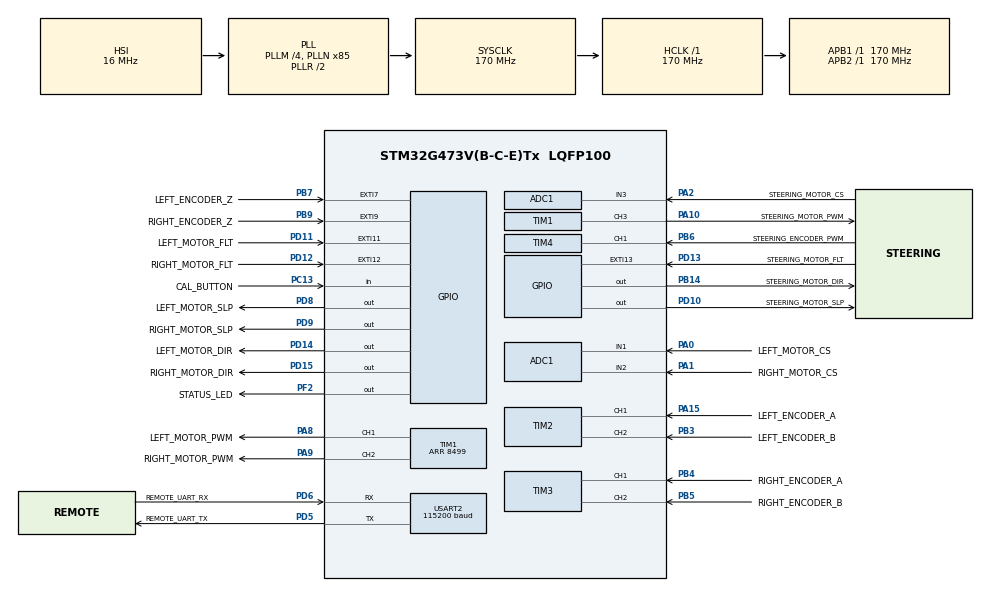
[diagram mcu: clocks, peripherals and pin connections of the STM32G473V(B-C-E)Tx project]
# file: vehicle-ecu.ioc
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ADC1.Channel-0\#ChannelRegularConversion=ADC_CHANNEL_1
ADC1.Channel-1\#ChannelRegularConversion=ADC_CHANNEL_2
ADC1.Channel-2\#ChannelRegularConversion=ADC_CHANNEL_3
ADC1.ContinuousConvMode=ENABLE
ADC1.DMAContinuousRequests=ENABLE
ADC1.EOCSelection=ADC_EOC_SEQ_CONV
ADC1.EnableAnalogWatchDog1=false
ADC1.NbrOfConversion=3
ADC1.NbrOfConversionFlag=1
ADC1.OffsetNumber-0\#ChannelRegularConversion=ADC_OFFSET_NONE
ADC1.OffsetNumber-1\#ChannelRegularConversion=ADC_OFFSET_NONE
ADC1.OffsetNumber-2\#ChannelRegularConversion=ADC_OFFSET_NONE
ADC1.Overrun=ADC_OVR_DATA_OVERWRITTEN
ADC1.Rank-0\#ChannelRegularConversion=1
ADC1.Rank-1\#ChannelRegularConversion=2
ADC1.Rank-2\#ChannelRegularConversion=3
ADC1.SamplingTime-0\#ChannelRegularConversion=ADC_SAMPLETIME_47CYCLES_5
ADC1.SamplingTime-1\#ChannelRegularConversion=ADC_SAMPLETIME_47CYCLES_5
ADC1.SamplingTime-2\#ChannelRegularConversion=ADC_SAMPLETIME_47CYCLES_5
ADC1.master=1
Dma.ADC1.0.Direction=DMA_PERIPH_TO_MEMORY
Dma.ADC1.0.EventEnable=DISABLE
Dma.ADC1.0.Instance=DMA1_Channel1
Dma.ADC1.0.MemDataAlignment=DMA_MDATAALIGN_HALFWORD
Dma.ADC1.0.MemInc=DMA_MINC_ENABLE
Dma.ADC1.0.Mode=DMA_CIRCULAR
Dma.ADC1.0.PeriphDataAlignment=DMA_PDATAALIGN_HALFWORD
Dma.ADC1.0.PeriphInc=DMA_PINC_DISABLE
Dma.ADC1.0.Polarity=HAL_DMAMUX_REQ_GEN_RISING
Dma.ADC1.0.Priority=DMA_PRIORITY_HIGH
Dma.ADC1.0.RequestNumber=1
Dma.ADC1.0.SignalID=NONE
Dma.ADC1.0.SyncEnable=DISABLE
Dma.ADC1.0.SyncPolarity=HAL_DMAMUX_SYNC_NO_EVENT
Dma.ADC1.0.SyncRequestNumber=1
Dma.ADC1.0.SyncSignalID=NONE
Dma.Request0=ADC1
FREERTOS.Tasks01=defaultTask,24,1024,StartDefaultTask,Default,NULL,Static,defaultTaskBuffer,defaultTaskControlBlock
FREERTOS.configCHECK_FOR_STACK_OVERFLOW=2
FREERTOS.configENABLE_FPU=1
FREERTOS.configTOTAL_HEAP_SIZE=16384
FREERTOS.configUSE_MALLOC_FAILED_HOOK=1
Mcu.Family=STM32G4
Mcu.Name=STM32G473V(B-C-E)Tx
Mcu.Package=LQFP100
NVIC.DMA1_Channel1_IRQn=true\:5\:0\:false\:false\:true\:true\:false\:true\:true
NVIC.EXTI15_10_IRQn=true\:5\:0\:false\:false\:true\:true\:true\:true\:true
NVIC.EXTI9_5_IRQn=true\:5\:0\:false\:false\:true\:true\:true\:true\:true
NVIC.PriorityGroup=NVIC_PRIORITYGROUP_4
NVIC.TIM4_IRQn=true\:5\:0\:false\:false\:true\:true\:true\:true\:true
NVIC.TIM6_DAC_IRQn=true\:0\:0\:true\:false\:true\:false\:false\:true\:true
NVIC.TimeBase=TIM6_DAC_IRQn
NVIC.TimeBaseIP=TIM6
NVIC.USART2_IRQn=true\:5\:0\:false\:false\:true\:true\:true\:true\:true
PA0.GPIO_Label=LEFT_MOTOR_CS
PA0.Mode=IN1-Single-Ended
PA0.Signal=ADC1_IN1
PA1.GPIO_Label=RIGHT_MOTOR_CS
PA1.Mode=IN2-Single-Ended
PA1.Signal=ADC1_IN2
PA10.GPIO_Label=STEERING_MOTOR_PWM
PA10.Signal=S_TIM1_CH3
PA13.Mode=Serial_Wire
PA13.Signal=SYS_JTMS-SWDIO
PA14.Mode=Serial_Wire
PA14.Signal=SYS_JTCK-SWCLK
PA15.GPIO_Label=LEFT_ENCODER_A
PA15.Signal=S_TIM2_CH1
PA2.GPIO_Label=STEERING_MOTOR_CS
PA2.Mode=IN3-Single-Ended
PA2.Signal=ADC1_IN3
PA8.GPIO_Label=LEFT_MOTOR_PWM
PA8.Signal=S_TIM1_CH1
PA9.GPIO_Label=RIGHT_MOTOR_PWM
PA9.Signal=S_TIM1_CH2
PB14.GPIO_Label=STEERING_MOTOR_DIR
PB14.Signal=GPIO_Output
PB3.GPIO_Label=LEFT_ENCODER_B
PB3.Signal=S_TIM2_CH2
PB4.GPIO_Label=RIGHT_ENCODER_A
PB4.Signal=S_TIM3_CH1
PB5.GPIO_Label=RIGHT_ENCODER_B
PB5.Signal=S_TIM3_CH2
PB6.GPIO_Label=STEERING_ENCODER_PWM
PB6.Signal=S_TIM4_CH1
PB7.GPIO_Label=LEFT_ENCODER_Z
PB7.Signal=GPXTI7
PB9.GPIO_Label=RIGHT_ENCODER_Z
PB9.Signal=GPXTI9
PC13.GPIO_Label=CAL_BUTTON
PC13.GPIO_PuPd=GPIO_PULLDOWN
PC13.Signal=GPIO_Input
PD10.GPIO_Label=STEERING_MOTOR_SLP
PD10.Signal=GPIO_Output
PD11.GPIO_Label=LEFT_MOTOR_FLT
PD11.GPIO_ModeDefaultEXTI=GPIO_MODE_IT_FALLING
PD11.GPIO_PuPd=GPIO_PULLUP
PD11.Signal=GPXTI11
PD12.GPIO_Label=RIGHT_MOTOR_FLT
PD12.GPIO_ModeDefaultEXTI=GPIO_MODE_IT_FALLING
PD12.GPIO_PuPd=GPIO_PULLUP
PD12.Signal=GPXTI12
PD13.GPIO_Label=STEERING_MOTOR_FLT
PD13.GPIO_ModeDefaultEXTI=GPIO_MODE_IT_FALLING
PD13.GPIO_PuPd=GPIO_PULLUP
PD13.Signal=GPXTI13
PD14.GPIO_Label=LEFT_MOTOR_DIR
PD14.Signal=GPIO_Output
PD15.GPIO_Label=RIGHT_MOTOR_DIR
PD15.Signal=GPIO_Output
PD5.GPIO_Label=REMOTE_UART_TX
PD5.GPIO_PuPd=GPIO_PULLUP
PD5.Mode=Asynchronous
PD5.Signal=USART2_TX
PD6.GPIO_Label=REMOTE_UART_RX
PD6.GPIO_PuPd=GPIO_PULLUP
PD6.Mode=Asynchronous
PD6.Signal=USART2_RX
PD8.GPIO_Label=LEFT_MOTOR_SLP
PD8.Signal=GPIO_Output
PD9.GPIO_Label=RIGHT_MOTOR_SLP
PD9.Signal=GPIO_Output
PF2.GPIO_Label=STATUS_LED
PF2.PinState=GPIO_PIN_RESET
PF2.Signal=GPIO_Output
ProjectManager.HeapSize=0x200
ProjectManager.StackSize=0x400
ProjectManager.TargetToolchain=CMake
RCC.ADC12Freq_Value=170000000
RCC.ADC345Freq_Value=170000000
RCC.AHBFreq_Value=170000000
RCC.APB1Freq_Value=170000000
RCC.APB1TimFreq_Value=170000000
RCC.APB2Freq_Value=170000000
RCC.APB2TimFreq_Value=170000000
RCC.CortexFreq_Value=170000000
RCC.EXTERNAL_CLOCK_VALUE=12288000
RCC.HCLKFreq_Value=170000000
RCC.HSE_VALUE=8000000
RCC.HSI48_VALUE=48000000
RCC.HSI_VALUE=16000000
RCC.LSE_VALUE=32768
RCC.PLLM=RCC_PLLM_DIV4
RCC.PLLN=85
RCC.SYSCLKFreq_VALUE=170000000
RCC.SYSCLKSource=RCC_SYSCLKSOURCE_PLLCLK
RCC.USBFreq_Value=170000000
RCC.VCOOutputFreq_Value=340000000
SH.S_TIM1_CH1.0=TIM1_CH1,PWM Generation1 CH1
SH.S_TIM1_CH2.0=TIM1_CH2,PWM Generation2 CH2
SH.S_TIM1_CH3.0=TIM1_CH3,PWM Generation3 CH3
SH.S_TIM2_CH1.0=TIM2_CH1,Encoder_Interface
SH.S_TIM2_CH2.0=TIM2_CH2,Encoder_Interface
SH.S_TIM3_CH1.0=TIM3_CH1,Encoder_Interface
SH.S_TIM3_CH2.0=TIM3_CH2,Encoder_Interface
SH.S_TIM4_CH1.0=TIM4_CH1,PWM_Input_1
TIM1.AutoReloadPreload=TIM_AUTORELOAD_PRELOAD_ENABLE
TIM1.Channel-PWM\ Generation1\ CH1=TIM_CHANNEL_1
TIM1.Channel-PWM\ Generation2\ CH2=TIM_CHANNEL_2
TIM1.Channel-PWM\ Generation3\ CH3=TIM_CHANNEL_3
TIM1.PeriodNoDither=8499
TIM2.EncoderMode=TIM_ENCODERMODE_TI12
TIM2.IC1Filter=10
TIM2.IC2Filter=10
TIM3.EncoderMode=TIM_ENCODERMODE_TI12
TIM3.IC1Filter=10
TIM3.IC2Filter=10
TIM4.ICFilter_1=10
TIM4.ICFilter_2=10
TIM4.Prescaler=16
USART2.BaudRate=115200
USART2.VirtualMode=VM_ASYNC
USART2.VirtualMode-Asynchronous=VM_ASYNC
VP_FREERTOS_VS_CMSIS_V2.Mode=CMSIS_V2
VP_SYS_VS_DBSignals.Mode=DisableDeadBatterySignals
VP_SYS_VS_tim6.Mode=TIM6
VP_TIM1_VS_ClockSourceINT.Mode=Internal
board=custom

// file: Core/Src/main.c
/* USER CODE BEGIN Header */
/**
  ******************************************************************************
  * @file           : main.c
  * @brief          : Main program body
  ******************************************************************************
  * @attention
  *
  * Copyright (c) 2026 STMicroelectronics.
  * All rights reserved.
  *
  * This software is licensed under terms that can be found in the LICENSE file
  * in the root directory of this software component.
  * If no LICENSE file comes with this software, it is provided AS-IS.
  *
  ******************************************************************************
  */
/* USER CODE END Header */
#include "main.h"
#include "cmsis_os.h"

/* USER CODE BEGIN Includes */
#include "FreeRTOS.h"
#include "vehicle_app.h"
#include "vehicle_log.h"
#include "motor_control.h"
#include "steering_encoder.h"
#include "rear_encoders.h"
#include "fault_shutdown.h"
#include "motor_safety.h"
#include "control_watchdog.h"

/* USER CODE END Includes */

/* USER CODE BEGIN PTD */
/* Keep the CubeMX static stack aligned for the Cortex-M4F FreeRTOS port. */
_Alignas(portBYTE_ALIGNMENT) extern uint32_t defaultTaskBuffer[];
typedef StaticTask_t osStaticThreadDef_t;

/* USER CODE END PTD */

ADC_HandleTypeDef hadc1;
DMA_HandleTypeDef hdma_adc1;

TIM_HandleTypeDef htim1;
TIM_HandleTypeDef htim2;
TIM_HandleTypeDef htim3;
TIM_HandleTypeDef htim4;

UART_HandleTypeDef huart2;

/* Definitions for defaultTask */
osThreadId_t defaultTaskHandle;
uint32_t defaultTaskBuffer[ 1024 ];
osStaticThreadDef_t defaultTaskControlBlock;
const osThreadAttr_t defaultTask_attributes = {
  .name = "defaultTask",
  .stack_mem = &defaultTaskBuffer[0],
  .stack_size = sizeof(defaultTaskBuffer),
  .cb_mem = &defaultTaskControlBlock,
  .cb_size = sizeof(defaultTaskControlBlock),
  .priority = (osPriority_t) 24,
};

void SystemClock_Config(void);
static void MX_GPIO_Init(void);
static void MX_DMA_Init(void);
static void MX_ADC1_Init(void);
static void MX_USART2_UART_Init(void);
static void MX_TIM1_Init(void);
static void MX_TIM2_Init(void);
static void MX_TIM3_Init(void);
static void MX_TIM4_Init(void);
void StartDefaultTask(void *argument);

int main(void)
{

  /* USER CODE BEGIN 1 */
  motor_safety_early_off();

  /* USER CODE END 1 */

  /* MCU Configuration--------------------------------------------------------*/

  /* Reset of all peripherals, Initializes the Flash interface and the Systick. */
  HAL_Init();

  /* Configure the system clock */
  SystemClock_Config();

  /* USER CODE BEGIN SysInit */
  if (!control_watchdog_start())
  {
    Error_Handler();
  }

  /* USER CODE END SysInit */

  /* Initialize all configured peripherals */
  MX_GPIO_Init();
  MX_DMA_Init();
  MX_ADC1_Init();
  MX_USART2_UART_Init();
  MX_TIM1_Init();
  MX_TIM2_Init();
  MX_TIM3_Init();
  MX_TIM4_Init();
  /* USER CODE BEGIN 2 */
  if (!rear_encoders_init(&htim3))
  {
    Error_Handler();
  }
  if (!steering_encoder_init(&htim4))
  {
    Error_Handler();
  }
  if (!motor_control_init(&htim1))
  {
    Error_Handler();
  }
  /* USER CODE END 2 */

  /* Init scheduler */
  osKernelInitialize();

  /* Create the thread(s) */
  /* creation of defaultTask */
  defaultTaskHandle = osThreadNew(StartDefaultTask, NULL, &defaultTask_attributes);

  /* USER CODE BEGIN RTOS_THREADS */
  if (defaultTaskHandle == NULL)
  {
    Error_Handler();
  }
  /* The logger owns RTT only; defaultTask remains the motor owner. */
  if (!vehicle_log_start())
  {
    Error_Handler();
  }
  /* USER CODE END RTOS_THREADS */

  /* Start scheduler */
  osKernelStart();

  /* We should never get here as control is now taken by the scheduler */

  /* Infinite loop */
  while (1)
  {

  }
}

void SystemClock_Config(void)
{
  RCC_OscInitTypeDef RCC_OscInitStruct = {0};
  RCC_ClkInitTypeDef RCC_ClkInitStruct = {0};

  /** Configure the main internal regulator output voltage
  */
  HAL_PWREx_ControlVoltageScaling(PWR_REGULATOR_VOLTAGE_SCALE1_BOOST);

  /** Initializes the RCC Oscillators according to the specified parameters
  * in the RCC_OscInitTypeDef structure.
  */
  RCC_OscInitStruct.OscillatorType = RCC_OSCILLATORTYPE_HSI;
  RCC_OscInitStruct.HSIState = RCC_HSI_ON;
  RCC_OscInitStruct.HSICalibrationValue = RCC_HSICALIBRATION_DEFAULT;
  RCC_OscInitStruct.PLL.PLLState = RCC_PLL_ON;
  RCC_OscInitStruct.PLL.PLLSource = RCC_PLLSOURCE_HSI;
  RCC_OscInitStruct.PLL.PLLM = RCC_PLLM_DIV4;
  RCC_OscInitStruct.PLL.PLLN = 85;
  RCC_OscInitStruct.PLL.PLLP = RCC_PLLP_DIV2;
  RCC_OscInitStruct.PLL.PLLQ = RCC_PLLQ_DIV2;
  RCC_OscInitStruct.PLL.PLLR = RCC_PLLR_DIV2;
  if (HAL_RCC_OscConfig(&RCC_OscInitStruct) != HAL_OK)
  {
    Error_Handler();
  }

  /** Initializes the CPU, AHB and APB buses clocks
  */
  RCC_ClkInitStruct.ClockType = RCC_CLOCKTYPE_HCLK|RCC_CLOCKTYPE_SYSCLK
                              |RCC_CLOCKTYPE_PCLK1|RCC_CLOCKTYPE_PCLK2;
  RCC_ClkInitStruct.SYSCLKSource = RCC_SYSCLKSOURCE_PLLCLK;
  RCC_ClkInitStruct.AHBCLKDivider = RCC_SYSCLK_DIV1;
  RCC_ClkInitStruct.APB1CLKDivider = RCC_HCLK_DIV1;
  RCC_ClkInitStruct.APB2CLKDivider = RCC_HCLK_DIV1;

  if (HAL_RCC_ClockConfig(&RCC_ClkInitStruct, FLASH_LATENCY_4) != HAL_OK)
  {
    Error_Handler();
  }
}

static void MX_ADC1_Init(void)
{

  ADC_MultiModeTypeDef multimode = {0};
  ADC_ChannelConfTypeDef sConfig = {0};

  /** Common config
  */
  hadc1.Instance = ADC1;
  hadc1.Init.ClockPrescaler = ADC_CLOCK_SYNC_PCLK_DIV4;
  hadc1.Init.Resolution = ADC_RESOLUTION_12B;
  hadc1.Init.DataAlign = ADC_DATAALIGN_RIGHT;
  hadc1.Init.GainCompensation = 0;
  hadc1.Init.ScanConvMode = ADC_SCAN_ENABLE;
  hadc1.Init.EOCSelection = ADC_EOC_SEQ_CONV;
  hadc1.Init.LowPowerAutoWait = DISABLE;
  hadc1.Init.ContinuousConvMode = ENABLE;
  hadc1.Init.NbrOfConversion = 3;
  hadc1.Init.DiscontinuousConvMode = DISABLE;
  hadc1.Init.ExternalTrigConv = ADC_SOFTWARE_START;
  hadc1.Init.ExternalTrigConvEdge = ADC_EXTERNALTRIGCONVEDGE_NONE;
  hadc1.Init.DMAContinuousRequests = ENABLE;
  hadc1.Init.Overrun = ADC_OVR_DATA_OVERWRITTEN;
  hadc1.Init.OversamplingMode = DISABLE;
  if (HAL_ADC_Init(&hadc1) != HAL_OK)
  {
    Error_Handler();
  }

  /** Configure the ADC multi-mode
  */
  multimode.Mode = ADC_MODE_INDEPENDENT;
  if (HAL_ADCEx_MultiModeConfigChannel(&hadc1, &multimode) != HAL_OK)
  {
    Error_Handler();
  }

  /** Configure Regular Channel
  */
  sConfig.Channel = ADC_CHANNEL_1;
  sConfig.Rank = ADC_REGULAR_RANK_1;
  sConfig.SamplingTime = ADC_SAMPLETIME_47CYCLES_5;
  sConfig.SingleDiff = ADC_SINGLE_ENDED;
  sConfig.OffsetNumber = ADC_OFFSET_NONE;
  sConfig.Offset = 0;
  if (HAL_ADC_ConfigChannel(&hadc1, &sConfig) != HAL_OK)
  {
    Error_Handler();
  }

  /** Configure Regular Channel
  */
  sConfig.Channel = ADC_CHANNEL_2;
  sConfig.Rank = ADC_REGULAR_RANK_2;
  if (HAL_ADC_ConfigChannel(&hadc1, &sConfig) != HAL_OK)
  {
    Error_Handler();
  }

  /** Configure Regular Channel
  */
  sConfig.Channel = ADC_CHANNEL_3;
  sConfig.Rank = ADC_REGULAR_RANK_3;
  if (HAL_ADC_ConfigChannel(&hadc1, &sConfig) != HAL_OK)
  {
    Error_Handler();
  }

}

static void MX_TIM1_Init(void)
{

  TIM_ClockConfigTypeDef sClockSourceConfig = {0};
  TIM_MasterConfigTypeDef sMasterConfig = {0};
  TIM_OC_InitTypeDef sConfigOC = {0};
  TIM_BreakDeadTimeConfigTypeDef sBreakDeadTimeConfig = {0};

  htim1.Instance = TIM1;
  htim1.Init.Prescaler = 0;
  htim1.Init.CounterMode = TIM_COUNTERMODE_UP;
  htim1.Init.Period = 8499;
  htim1.Init.ClockDivision = TIM_CLOCKDIVISION_DIV1;
  htim1.Init.RepetitionCounter = 0;
  htim1.Init.AutoReloadPreload = TIM_AUTORELOAD_PRELOAD_ENABLE;
  if (HAL_TIM_Base_Init(&htim1) != HAL_OK)
  {
    Error_Handler();
  }
  sClockSourceConfig.ClockSource = TIM_CLOCKSOURCE_INTERNAL;
  if (HAL_TIM_ConfigClockSource(&htim1, &sClockSourceConfig) != HAL_OK)
  {
    Error_Handler();
  }
  if (HAL_TIM_PWM_Init(&htim1) != HAL_OK)
  {
    Error_Handler();
  }
  sMasterConfig.MasterOutputTrigger = TIM_TRGO_RESET;
  sMasterConfig.MasterOutputTrigger2 = TIM_TRGO2_RESET;
  sMasterConfig.MasterSlaveMode = TIM_MASTERSLAVEMODE_DISABLE;
  if (HAL_TIMEx_MasterConfigSynchronization(&htim1, &sMasterConfig) != HAL_OK)
  {
    Error_Handler();
  }
  sConfigOC.OCMode = TIM_OCMODE_PWM1;
  sConfigOC.Pulse = 0;
  sConfigOC.OCPolarity = TIM_OCPOLARITY_HIGH;
  sConfigOC.OCNPolarity = TIM_OCNPOLARITY_HIGH;
  sConfigOC.OCFastMode = TIM_OCFAST_DISABLE;
  sConfigOC.OCIdleState = TIM_OCIDLESTATE_RESET;
  sConfigOC.OCNIdleState = TIM_OCNIDLESTATE_RESET;
  if (HAL_TIM_PWM_ConfigChannel(&htim1, &sConfigOC, TIM_CHANNEL_1) != HAL_OK)
  {
    Error_Handler();
  }
  if (HAL_TIM_PWM_ConfigChannel(&htim1, &sConfigOC, TIM_CHANNEL_2) != HAL_OK)
  {
    Error_Handler();
  }
  if (HAL_TIM_PWM_ConfigChannel(&htim1, &sConfigOC, TIM_CHANNEL_3) != HAL_OK)
  {
    Error_Handler();
  }
  sBreakDeadTimeConfig.OffStateRunMode = TIM_OSSR_DISABLE;
  sBreakDeadTimeConfig.OffStateIDLEMode = TIM_OSSI_DISABLE;
  sBreakDeadTimeConfig.LockLevel = TIM_LOCKLEVEL_OFF;
  sBreakDeadTimeConfig.DeadTime = 0;
  sBreakDeadTimeConfig.BreakState = TIM_BREAK_DISABLE;
  sBreakDeadTimeConfig.BreakPolarity = TIM_BREAKPOLARITY_HIGH;
  sBreakDeadTimeConfig.BreakFilter = 0;
  sBreakDeadTimeConfig.BreakAFMode = TIM_BREAK_AFMODE_INPUT;
  sBreakDeadTimeConfig.Break2State = TIM_BREAK2_DISABLE;
  sBreakDeadTimeConfig.Break2Polarity = TIM_BREAK2POLARITY_HIGH;
  sBreakDeadTimeConfig.Break2Filter = 0;
  sBreakDeadTimeConfig.Break2AFMode = TIM_BREAK_AFMODE_INPUT;
  sBreakDeadTimeConfig.AutomaticOutput = TIM_AUTOMATICOUTPUT_DISABLE;
  if (HAL_TIMEx_ConfigBreakDeadTime(&htim1, &sBreakDeadTimeConfig) != HAL_OK)
  {
    Error_Handler();
  }
  HAL_TIM_MspPostInit(&htim1);

}

static void MX_TIM2_Init(void)
{

  TIM_Encoder_InitTypeDef sConfig = {0};
  TIM_MasterConfigTypeDef sMasterConfig = {0};

  htim2.Instance = TIM2;
  htim2.Init.Prescaler = 0;
  htim2.Init.CounterMode = TIM_COUNTERMODE_UP;
  htim2.Init.Period = 4294967295;
  htim2.Init.ClockDivision = TIM_CLOCKDIVISION_DIV1;
  htim2.Init.AutoReloadPreload = TIM_AUTORELOAD_PRELOAD_DISABLE;
  sConfig.EncoderMode = TIM_ENCODERMODE_TI12;
  sConfig.IC1Polarity = TIM_ICPOLARITY_RISING;
  sConfig.IC1Selection = TIM_ICSELECTION_DIRECTTI;
  sConfig.IC1Prescaler = TIM_ICPSC_DIV1;
  sConfig.IC1Filter = 10;
  sConfig.IC2Polarity = TIM_ICPOLARITY_RISING;
  sConfig.IC2Selection = TIM_ICSELECTION_DIRECTTI;
  sConfig.IC2Prescaler = TIM_ICPSC_DIV1;
  sConfig.IC2Filter = 10;
  if (HAL_TIM_Encoder_Init(&htim2, &sConfig) != HAL_OK)
  {
    Error_Handler();
  }
  sMasterConfig.MasterOutputTrigger = TIM_TRGO_RESET;
  sMasterConfig.MasterSlaveMode = TIM_MASTERSLAVEMODE_DISABLE;
  if (HAL_TIMEx_MasterConfigSynchronization(&htim2, &sMasterConfig) != HAL_OK)
  {
    Error_Handler();
  }

}

static void MX_TIM3_Init(void)
{

  TIM_Encoder_InitTypeDef sConfig = {0};
  TIM_MasterConfigTypeDef sMasterConfig = {0};

  htim3.Instance = TIM3;
  htim3.Init.Prescaler = 0;
  htim3.Init.CounterMode = TIM_COUNTERMODE_UP;
  htim3.Init.Period = 65535;
  htim3.Init.ClockDivision = TIM_CLOCKDIVISION_DIV1;
  htim3.Init.AutoReloadPreload = TIM_AUTORELOAD_PRELOAD_DISABLE;
  sConfig.EncoderMode = TIM_ENCODERMODE_TI12;
  sConfig.IC1Polarity = TIM_ICPOLARITY_RISING;
  sConfig.IC1Selection = TIM_ICSELECTION_DIRECTTI;
  sConfig.IC1Prescaler = TIM_ICPSC_DIV1;
  sConfig.IC1Filter = 10;
  sConfig.IC2Polarity = TIM_ICPOLARITY_RISING;
  sConfig.IC2Selection = TIM_ICSELECTION_DIRECTTI;
  sConfig.IC2Prescaler = TIM_ICPSC_DIV1;
  sConfig.IC2Filter = 10;
  if (HAL_TIM_Encoder_Init(&htim3, &sConfig) != HAL_OK)
  {
    Error_Handler();
  }
  sMasterConfig.MasterOutputTrigger = TIM_TRGO_RESET;
  sMasterConfig.MasterSlaveMode = TIM_MASTERSLAVEMODE_DISABLE;
  if (HAL_TIMEx_MasterConfigSynchronization(&htim3, &sMasterConfig) != HAL_OK)
  {
    Error_Handler();
  }

}

static void MX_TIM4_Init(void)
{

  TIM_SlaveConfigTypeDef sSlaveConfig = {0};
  TIM_IC_InitTypeDef sConfigIC = {0};
  TIM_MasterConfigTypeDef sMasterConfig = {0};

  htim4.Instance = TIM4;
  htim4.Init.Prescaler = 16;
  htim4.Init.CounterMode = TIM_COUNTERMODE_UP;
  htim4.Init.Period = 65535;
  htim4.Init.ClockDivision = TIM_CLOCKDIVISION_DIV1;
  htim4.Init.AutoReloadPreload = TIM_AUTORELOAD_PRELOAD_DISABLE;
  if (HAL_TIM_IC_Init(&htim4) != HAL_OK)
  {
    Error_Handler();
  }
  sSlaveConfig.SlaveMode = TIM_SLAVEMODE_RESET;
  sSlaveConfig.InputTrigger = TIM_TS_TI1FP1;
  sSlaveConfig.TriggerPolarity = TIM_INPUTCHANNELPOLARITY_RISING;
  sSlaveConfig.TriggerPrescaler = TIM_ICPSC_DIV1;
  sSlaveConfig.TriggerFilter = 10;
  if (HAL_TIM_SlaveConfigSynchro(&htim4, &sSlaveConfig) != HAL_OK)
  {
    Error_Handler();
  }
  sConfigIC.ICPolarity = TIM_INPUTCHANNELPOLARITY_RISING;
  sConfigIC.ICSelection = TIM_ICSELECTION_DIRECTTI;
  sConfigIC.ICPrescaler = TIM_ICPSC_DIV1;
  sConfigIC.ICFilter = 10;
  if (HAL_TIM_IC_ConfigChannel(&htim4, &sConfigIC, TIM_CHANNEL_1) != HAL_OK)
  {
    Error_Handler();
  }
  sConfigIC.ICPolarity = TIM_INPUTCHANNELPOLARITY_FALLING;
  sConfigIC.ICSelection = TIM_ICSELECTION_INDIRECTTI;
  if (HAL_TIM_IC_ConfigChannel(&htim4, &sConfigIC, TIM_CHANNEL_2) != HAL_OK)
  {
    Error_Handler();
  }
  sMasterConfig.MasterOutputTrigger = TIM_TRGO_RESET;
  sMasterConfig.MasterSlaveMode = TIM_MASTERSLAVEMODE_DISABLE;
  if (HAL_TIMEx_MasterConfigSynchronization(&htim4, &sMasterConfig) != HAL_OK)
  {
    Error_Handler();
  }

}

static void MX_USART2_UART_Init(void)
{

  huart2.Instance = USART2;
  huart2.Init.BaudRate = 115200;
  huart2.Init.WordLength = UART_WORDLENGTH_8B;
  huart2.Init.StopBits = UART_STOPBITS_1;
  huart2.Init.Parity = UART_PARITY_NONE;
  huart2.Init.Mode = UART_MODE_TX_RX;
  huart2.Init.HwFlowCtl = UART_HWCONTROL_NONE;
  huart2.Init.OverSampling = UART_OVERSAMPLING_16;
  huart2.Init.OneBitSampling = UART_ONE_BIT_SAMPLE_DISABLE;
  huart2.Init.ClockPrescaler = UART_PRESCALER_DIV1;
  huart2.AdvancedInit.AdvFeatureInit = UART_ADVFEATURE_NO_INIT;
  if (HAL_UART_Init(&huart2) != HAL_OK)
  {
    Error_Handler();
  }
  if (HAL_UARTEx_SetTxFifoThreshold(&huart2, UART_TXFIFO_THRESHOLD_1_8) != HAL_OK)
  {
    Error_Handler();
  }
  if (HAL_UARTEx_SetRxFifoThreshold(&huart2, UART_RXFIFO_THRESHOLD_1_8) != HAL_OK)
  {
    Error_Handler();
  }
  if (HAL_UARTEx_DisableFifoMode(&huart2) != HAL_OK)
  {
    Error_Handler();
  }

}

static void MX_DMA_Init(void)
{

  /* DMA controller clock enable */
  __HAL_RCC_DMAMUX1_CLK_ENABLE();
  __HAL_RCC_DMA1_CLK_ENABLE();

  /* DMA interrupt init */
  /* DMA1_Channel1_IRQn interrupt configuration */
  HAL_NVIC_SetPriority(DMA1_Channel1_IRQn, 5, 0);
  HAL_NVIC_EnableIRQ(DMA1_Channel1_IRQn);

}

static void MX_GPIO_Init(void)
{
  GPIO_InitTypeDef GPIO_InitStruct = {0};

  /* GPIO Ports Clock Enable */
  __HAL_RCC_GPIOC_CLK_ENABLE();
  __HAL_RCC_GPIOF_CLK_ENABLE();
  __HAL_RCC_GPIOA_CLK_ENABLE();
  __HAL_RCC_GPIOB_CLK_ENABLE();
  __HAL_RCC_GPIOD_CLK_ENABLE();

  /*Configure GPIO pin Output Level */
  HAL_GPIO_WritePin(STATUS_LED_GPIO_Port, STATUS_LED_Pin, GPIO_PIN_RESET);

  /*Configure GPIO pin Output Level */
  HAL_GPIO_WritePin(STEERING_MOTOR_DIR_GPIO_Port, STEERING_MOTOR_DIR_Pin, GPIO_PIN_RESET);

  /*Configure GPIO pin Output Level */
  HAL_GPIO_WritePin(GPIOD, LEFT_MOTOR_SLP_Pin|RIGHT_MOTOR_SLP_Pin|STEERING_MOTOR_SLP_Pin|LEFT_MOTOR_DIR_Pin
                          |RIGHT_MOTOR_DIR_Pin, GPIO_PIN_RESET);

  /*Configure GPIO pin : CAL_BUTTON_Pin */
  GPIO_InitStruct.Pin = CAL_BUTTON_Pin;
  GPIO_InitStruct.Mode = GPIO_MODE_INPUT;
  GPIO_InitStruct.Pull = GPIO_PULLDOWN;
  HAL_GPIO_Init(CAL_BUTTON_GPIO_Port, &GPIO_InitStruct);

  /*Configure GPIO pin : STATUS_LED_Pin */
  GPIO_InitStruct.Pin = STATUS_LED_Pin;
  GPIO_InitStruct.Mode = GPIO_MODE_OUTPUT_PP;
  GPIO_InitStruct.Pull = GPIO_NOPULL;
  GPIO_InitStruct.Speed = GPIO_SPEED_FREQ_LOW;
  HAL_GPIO_Init(STATUS_LED_GPIO_Port, &GPIO_InitStruct);

  /*Configure GPIO pin : STEERING_MOTOR_DIR_Pin */
  GPIO_InitStruct.Pin = STEERING_MOTOR_DIR_Pin;
  GPIO_InitStruct.Mode = GPIO_MODE_OUTPUT_PP;
  GPIO_InitStruct.Pull = GPIO_NOPULL;
  GPIO_InitStruct.Speed = GPIO_SPEED_FREQ_LOW;
  HAL_GPIO_Init(STEERING_MOTOR_DIR_GPIO_Port, &GPIO_InitStruct);

  /*Configure GPIO pins : LEFT_MOTOR_SLP_Pin RIGHT_MOTOR_SLP_Pin STEERING_MOTOR_SLP_Pin LEFT_MOTOR_DIR_Pin
                           RIGHT_MOTOR_DIR_Pin */
  GPIO_InitStruct.Pin = LEFT_MOTOR_SLP_Pin|RIGHT_MOTOR_SLP_Pin|STEERING_MOTOR_SLP_Pin|LEFT_MOTOR_DIR_Pin
                          |RIGHT_MOTOR_DIR_Pin;
  GPIO_InitStruct.Mode = GPIO_MODE_OUTPUT_PP;
  GPIO_InitStruct.Pull = GPIO_NOPULL;
  GPIO_InitStruct.Speed = GPIO_SPEED_FREQ_LOW;
  HAL_GPIO_Init(GPIOD, &GPIO_InitStruct);

  /*Configure GPIO pins : LEFT_MOTOR_FLT_Pin RIGHT_MOTOR_FLT_Pin STEERING_MOTOR_FLT_Pin */
  GPIO_InitStruct.Pin = LEFT_MOTOR_FLT_Pin|RIGHT_MOTOR_FLT_Pin|STEERING_MOTOR_FLT_Pin;
  GPIO_InitStruct.Mode = GPIO_MODE_IT_FALLING;
  GPIO_InitStruct.Pull = GPIO_PULLUP;
  HAL_GPIO_Init(GPIOD, &GPIO_InitStruct);

  /*Configure GPIO pins : LEFT_ENCODER_Z_Pin RIGHT_ENCODER_Z_Pin */
  GPIO_InitStruct.Pin = LEFT_ENCODER_Z_Pin|RIGHT_ENCODER_Z_Pin;
  GPIO_InitStruct.Mode = GPIO_MODE_IT_RISING;
  GPIO_InitStruct.Pull = GPIO_NOPULL;
  HAL_GPIO_Init(GPIOB, &GPIO_InitStruct);

  /* EXTI interrupt init*/
  HAL_NVIC_SetPriority(EXTI9_5_IRQn, 5, 0);
  HAL_NVIC_EnableIRQ(EXTI9_5_IRQn);

  HAL_NVIC_SetPriority(EXTI15_10_IRQn, 5, 0);
  HAL_NVIC_EnableIRQ(EXTI15_10_IRQn);

  /* USER CODE BEGIN MX_GPIO_Init_2 */
  /* Encoder Z pins remain reserved in CubeMX; only A/B feedback is used. */
  EXTI->IMR1 &= ~((uint32_t)LEFT_ENCODER_Z_Pin | (uint32_t)RIGHT_ENCODER_Z_Pin);

  /* USER CODE END MX_GPIO_Init_2 */
}

void StartDefaultTask(void *argument)
{
  /* USER CODE BEGIN 5 */
  (void)argument;
  vehicle_app_run(&huart2);
  /* Infinite loop */
  for(;;)
  {
    osDelay(1);
  }
  /* USER CODE END 5 */
}

void HAL_TIM_PeriodElapsedCallback(TIM_HandleTypeDef *htim)
{
  if (htim->Instance == TIM6)
  {
    HAL_IncTick();
  }
}

void Error_Handler(void)
{
  /* USER CODE BEGIN Error_Handler_Debug */
  fault_shutdown_halt();
  /* USER CODE END Error_Handler_Debug */
}

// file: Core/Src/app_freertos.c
/* USER CODE BEGIN Header */
/**
  ******************************************************************************
  * File Name          : app_freertos.c
  * Description        : Code for freertos applications
  ******************************************************************************
  * @attention
  *
  * Copyright (c) 2026 STMicroelectronics.
  * All rights reserved.
  *
  * This software is licensed under terms that can be found in the LICENSE file
  * in the root directory of this software component.
  * If no LICENSE file comes with this software, it is provided AS-IS.
  *
  ******************************************************************************
  */
/* USER CODE END Header */

#include "FreeRTOS.h"
#include "task.h"
#include "main.h"

/* USER CODE BEGIN Includes */
#include "fault_shutdown.h"

/* USER CODE END Includes */

/* Hook prototypes */
void vApplicationStackOverflowHook(xTaskHandle xTask, signed char *pcTaskName);
void vApplicationMallocFailedHook(void);

/* USER CODE BEGIN 4 */
void vApplicationStackOverflowHook(xTaskHandle xTask, signed char *pcTaskName)
{
   (void)xTask;
   (void)pcTaskName;
   fault_shutdown_halt();
}
/* USER CODE END 4 */

/* USER CODE BEGIN 5 */
void vApplicationMallocFailedHook(void)
{
   fault_shutdown_halt();
}
/* USER CODE END 5 */
